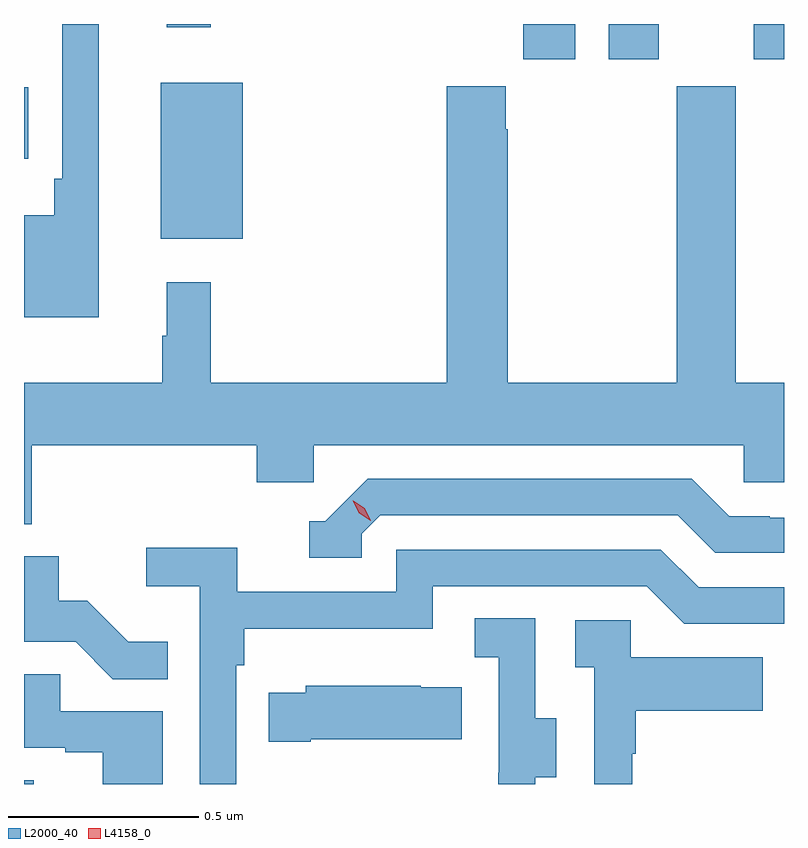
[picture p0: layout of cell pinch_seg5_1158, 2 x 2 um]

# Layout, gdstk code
import gdstk
lib = gdstk.Library(unit=1e-6, precision=1e-09)
def R(c, l, rs):  # rectangles x0, y0, x1, y1
    for r in rs: c.add(gdstk.rectangle(r[:2], r[2:], *l))
def P(c, l, *ps):  # polygons
    for p in ps: c.add(gdstk.Polygon(p, *l))
L2000_40 = (2000, 40)
L4158_0 = (4158, 0)

pinch_seg5_1158 = lib.new_cell('pinch_seg5_1158')
R(pinch_seg5_1158, L2000_40, [(814.487,835.888,814.513,835.898), (814.847,837.323,815.062,837.733), (814.487,837.533,814.498,837.721), (815.801,837.795,815.938,837.888), (816.026,837.795,816.157,837.888), (816.407,837.795,816.487,837.888), (814.862,837.879,814.979,837.888)])
P(pinch_seg5_1158, L2000_40, [(814.684,837.888),(814.587,837.888),(814.587,837.481),(814.567,837.481),(814.567,837.385),(814.487,837.385),(814.487,837.116),(814.684,837.116)],
  [(814.508,836.78),(815.099,836.78),(815.099,836.682),(815.25,836.682),(815.25,836.78),(816.381,836.78),(816.381,836.682),(816.487,836.682),(816.487,836.944),(816.36,836.944),(816.36,837.724),(816.205,837.724),(816.205,836.944),(815.76,836.944),(815.76,837.611),(815.755,837.611),(815.755,837.724),(815.6,837.724),(815.6,836.944),(814.979,836.944),(814.979,837.208),(814.862,837.208),(814.862,837.068),(814.851,837.068),(814.851,836.944),(814.487,836.944),(814.487,836.572),(814.508,836.572)],
  [(815.376,836.547),(815.424,836.595),(816.207,836.595),(816.306,836.496),(816.487,836.496),(816.487,836.589),(816.45,836.589),(816.45,836.592),(816.343,836.592),(816.244,836.691),(815.391,836.691),(815.28,836.58),(815.237,836.58),(815.237,836.484),(815.376,836.484)],
  [(815.046,836.201),(815.066,836.201),(815.066,836.297),(815.562,836.297),(815.562,836.409),(816.126,836.409),(816.225,836.31),(816.487,836.31),(816.487,836.406),(816.262,836.406),(816.163,836.505),(815.466,836.505),(815.466,836.394),(815.048,836.394),(815.048,836.51),(814.809,836.51),(814.809,836.408),(814.95,836.408),(814.95,835.888),(815.046,835.888)],
  [(814.865,836.263),(814.761,836.263),(814.654,836.37),(814.578,836.37),(814.578,836.487),(814.487,836.487),(814.487,836.262),(814.623,836.262),(814.721,836.164),(814.865,836.164)],
  [(815.833,835.906),(815.887,835.906),(815.887,836.061),(815.832,836.061),(815.832,836.324),(815.673,836.324),(815.673,836.221),(815.736,836.221),(815.736,835.917),(815.735,835.917),(815.735,835.888),(815.833,835.888)],
  [(816.087,835.967),(816.097,835.967),(816.097,836.081),(816.431,836.081),(816.431,836.221),(816.084,836.221),(816.084,836.319),(815.937,836.319),(815.937,836.195),(815.988,836.195),(815.988,835.888),(816.087,835.888)],
  [(814.852,836.079),(814.583,836.079),(814.583,836.177),(814.488,836.177),(814.488,835.983),(814.595,835.983),(814.595,835.971),(814.694,835.971),(814.694,835.888),(814.852,835.888)],
  [(815.242,836.006),(815.639,836.006),(815.639,836.143),(815.531,836.143),(815.531,836.146),(815.229,836.146),(815.229,836.128),(815.131,836.128),(815.131,835.999),(815.242,835.999)])
P(pinch_seg5_1158, L4158_0, [(815.4,836.581),(815.369,836.6),(815.352,836.633),(815.352,836.633),(815.353,836.633),(815.384,836.614),(815.4,836.581),(815.4,836.581)])

lib.write_gds('pinch_seg5_1158.gds')
